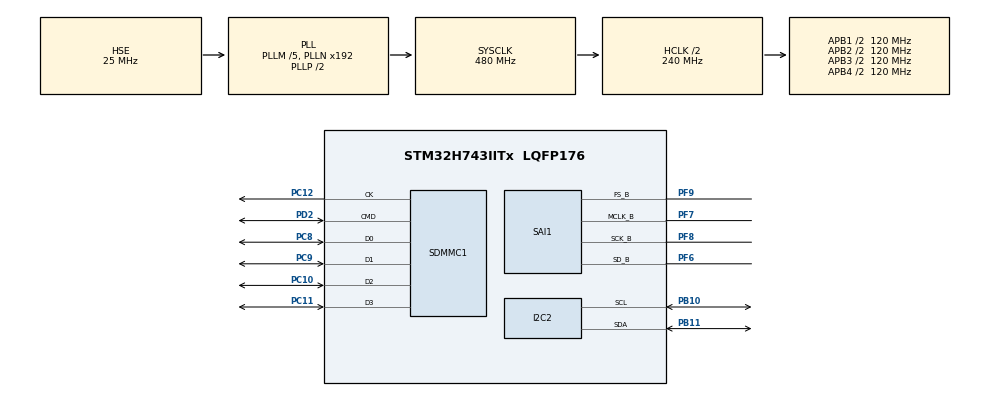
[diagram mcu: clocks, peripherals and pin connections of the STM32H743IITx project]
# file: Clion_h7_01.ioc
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CORTEX_M7.default_mode_Activation=1
Dma.Request0=SAI1_B
Dma.SAI1_B.0.Direction=DMA_MEMORY_TO_PERIPH
Dma.SAI1_B.0.EventEnable=DISABLE
Dma.SAI1_B.0.FIFOMode=DMA_FIFOMODE_DISABLE
Dma.SAI1_B.0.Instance=DMA2_Stream3
Dma.SAI1_B.0.MemDataAlignment=DMA_MDATAALIGN_HALFWORD
Dma.SAI1_B.0.MemInc=DMA_MINC_ENABLE
Dma.SAI1_B.0.Mode=DMA_CIRCULAR
Dma.SAI1_B.0.PeriphDataAlignment=DMA_PDATAALIGN_HALFWORD
Dma.SAI1_B.0.PeriphInc=DMA_PINC_DISABLE
Dma.SAI1_B.0.Polarity=HAL_DMAMUX_REQ_GEN_RISING
Dma.SAI1_B.0.Priority=DMA_PRIORITY_HIGH
Dma.SAI1_B.0.RequestNumber=1
Dma.SAI1_B.0.SignalID=NONE
Dma.SAI1_B.0.SyncEnable=DISABLE
Dma.SAI1_B.0.SyncPolarity=HAL_DMAMUX_SYNC_NO_EVENT
Dma.SAI1_B.0.SyncRequestNumber=1
Dma.SAI1_B.0.SyncSignalID=NONE
FATFS._CODE_PAGE=936
FATFS._LFN_UNICODE=1
FATFS._USE_LFN=2
FREERTOS.Tasks01=defaultTask,24,4096,StartDefaultTask,Default,NULL,Dynamic,NULL,NULL
I2C2.Timing=0x307075B1
Mcu.Family=STM32H7
Mcu.Name=STM32H743IITx
Mcu.Package=LQFP176
NVIC.DMA2_Stream3_IRQn=true\:5\:0\:false\:false\:true\:false\:false\:true\:true
NVIC.PriorityGroup=NVIC_PRIORITYGROUP_4
NVIC.SDMMC1_IRQn=true\:5\:0\:false\:false\:true\:true\:true\:true\:true
NVIC.TIM7_IRQn=true\:15\:0\:false\:false\:true\:false\:false\:true\:true
NVIC.TimeBase=TIM7_IRQn
NVIC.TimeBaseIP=TIM7
PA13\ (JTMS/SWDIO).Mode=Serial_Wire
PA13\ (JTMS/SWDIO).Signal=DEBUG_JTMS-SWDIO
PA14\ (JTCK/SWCLK).Mode=Serial_Wire
PA14\ (JTCK/SWCLK).Signal=DEBUG_JTCK-SWCLK
PB10.Mode=I2C
PB10.Signal=I2C2_SCL
PB11.Mode=I2C
PB11.Signal=I2C2_SDA
PC10.Mode=SD_4_bits_Wide_bus
PC10.Signal=SDMMC1_D2
PC11.Mode=SD_4_bits_Wide_bus
PC11.Signal=SDMMC1_D3
PC12.Mode=SD_4_bits_Wide_bus
PC12.Signal=SDMMC1_CK
PC8.Mode=SD_4_bits_Wide_bus
PC8.Signal=SDMMC1_D0
PC9.Mode=SD_4_bits_Wide_bus
PC9.Signal=SDMMC1_D1
PD2.Mode=SD_4_bits_Wide_bus
PD2.Signal=SDMMC1_CMD
PF6.Mode=SAI_B_MasterWithClock
PF6.Signal=SAI1_SD_B
PF7.Mode=SAI_B_MasterWithClock
PF7.Signal=SAI1_MCLK_B
PF8.Mode=SAI_B_MasterWithClock
PF8.Signal=SAI1_SCK_B
PF9.Mode=SAI_B_MasterWithClock
PF9.Signal=SAI1_FS_B
PH0-OSC_IN\ (PH0).Mode=HSE-External-Oscillator
PH0-OSC_IN\ (PH0).Signal=RCC_OSC_IN
PH1-OSC_OUT\ (PH1).Mode=HSE-External-Oscillator
PH1-OSC_OUT\ (PH1).Signal=RCC_OSC_OUT
ProjectManager.HeapSize=0x200
ProjectManager.StackSize=0x400
ProjectManager.TargetToolchain=Makefile
RCC.ADCFreq_Value=122880004.8828125
RCC.APB1Freq_Value=120000000
RCC.APB2Freq_Value=120000000
RCC.APB3Freq_Value=120000000
RCC.APB4Freq_Value=120000000
RCC.CortexFreq_Value=480000000
RCC.D1PPRE=RCC_APB3_DIV2
RCC.D2PPRE1=RCC_APB1_DIV2
RCC.D2PPRE2=RCC_APB2_DIV2
RCC.D3PPRE=RCC_APB4_DIV2
RCC.DIVM1=5
RCC.DIVM2=25
RCC.DIVM3=25
RCC.DIVN1=192
RCC.DIVN2=245
RCC.DIVN3=330
RCC.DIVQ1=4
RCC.DIVR3=10
RCC.HCLKFreq_Value=240000000
RCC.HPRE=RCC_HCLK_DIV2
RCC.PLL2FRACN=6226
RCC.PLL3FRACN=0
RCC.PLLFRACN=0
RCC.PLLSourceVirtual=RCC_PLLSOURCE_HSE
RCC.SAI1CLockSelection=RCC_SAI1CLKSOURCE_PLL2
RCC.SYSCLKFreq_VALUE=480000000
RCC.SYSCLKSource=RCC_SYSCLKSOURCE_PLLCLK
RCC.USBFreq_Value=240000000
SAI1.AudioFrequency-SAI_B_MasterWithClock=SAI_AUDIO_FREQUENCY_48K
SAI1.DataSize-SAI_B_MasterWithClock=SAI_DATASIZE_16
SAI1.ErrorAudioFreq-SAI_B_MasterWithClock=900.0 %
SAI1.FrameLength-SAI_B_MasterWithClock=32
SAI1.Instance-SAI_B_MasterWithClock=SAI$Index_Block_B
SAI1.MClockEnable-SAI_B_MasterWithClock=SAI_MASTERCLOCK_ENABLE
SAI1.RealAudioFreq-SAI_B_MasterWithClock=480.0 KHz
SAI1.SlotActive-SAI_B_MasterWithClock=0x00000003
SAI1.SlotNumber-SAI_B_MasterWithClock=2
SAI1.VirtualMode-SAI_B_MasterWithClock=VM_MASTER
SAI1.VirtualSlotActive-SAI_B_MasterWithClock=SAI_SLOT_USERSETTING
SAI1.VirtualSlotActive0-SAI_B_MasterWithClock=true
SAI1.VirtualSlotActive1-SAI_B_MasterWithClock=true
SDMMC1.ClockDiv=6
VP_FATFS_VS_SDIO.Mode=SDIO
VP_FREERTOS_VS_CMSIS_V2.Mode=CMSIS_V2
VP_MEMORYMAP_VS_MEMORYMAP.Mode=CurAppReg
VP_SYS_VS_tim7.Mode=TIM7
board=custom

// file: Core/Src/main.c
/* USER CODE BEGIN Header */
/**
  ******************************************************************************
  * @file           : main.c
  * @brief          : Main program body
  ******************************************************************************
  * @attention
  *
  * Copyright (c) 2026 STMicroelectronics.
  * All rights reserved.
  *
  * This software is licensed under terms that can be found in the LICENSE file
  * in the root directory of this software component.
  * If no LICENSE file comes with this software, it is provided AS-IS.
  *
  ******************************************************************************
  */
/* USER CODE END Header */
#include "main.h"
#include "cmsis_os.h"
#include "dma.h"
#include "fatfs.h"
#include "i2c.h"
#include "sai.h"
#include "sdmmc.h"
#include "gpio.h"

/* USER CODE BEGIN Includes */
#include <string.h>
#include "led.h"
#include "sdram.h"
#include "lcd_rgb.h"
#include "lcd_pwm.h"
#include "touch_800x480.h"
#include "qspi_w25q64.h"
#include "lvgl.h"
#include "draw/stm32_dma2d/lv_gpu_stm32_dma2d.h"
#include "lv_port_disp_template.h"
#include "lv_port_indev_template.h"
#include "ui.h"

/* USER CODE END Includes */

void SystemClock_Config(void);
static void MPU_Config(void);
void MX_FREERTOS_Init(void);
/* USER CODE BEGIN PFP */
void MX_MPU_UserConfig(void);
void MX_LTDC_ClockConfig(void);

/* USER CODE END PFP */

int main(void)
{

  /* USER CODE BEGIN 1 */
  /* Enable caches (same as the original FK743M1 project). ICache speeds up
   * code, DCache speeds up CPU rendering into SDRAM. MPU_Config() below keeps
   * the framebuffer/LTDC area coherent. */
  SCB_EnableICache();
  SCB_EnableDCache();
  /* CubeMX's generated MPU_Config() installs a deny-all region; add our own
   * regions (higher numbers win) so SDRAM + QSPI are accessible. Kept in
   * USER CODE so CubeMX regeneration cannot wipe it. */
  MX_MPU_UserConfig();

  /* USER CODE END 1 */

  /* MPU Configuration--------------------------------------------------------*/
  MPU_Config();

  /* MCU Configuration--------------------------------------------------------*/

  /* Reset of all peripherals, Initializes the Flash interface and the Systick. */
  HAL_Init();

  /* Configure the system clock */
  SystemClock_Config();

  /* USER CODE BEGIN SysInit */
  MX_LTDC_ClockConfig();   /* PLL3 -> LTDC 33 MHz pixel clock (from ltdc.c, which is not compiled) */

  /* USER CODE END SysInit */

  /* Initialize all configured peripherals */
  MX_GPIO_Init();
  MX_DMA_Init();
  MX_SDMMC1_SD_Init();
  MX_FATFS_Init();
  MX_I2C2_Init();
  MX_SAI1_Init();
  /* USER CODE BEGIN 2 */
  /* ==== Board bring-up (kept identical to the original FK743M1 project) ==== */
  LED_Init();                        /* LED1 on PH7 */
  MX_FMC_Init();                     /* SDRAM at 0xC0000000: framebuffers + LVGL pool */
  MX_LTDC_Init();                    /* LTDC owned by the board driver lcd_rgb.c (timing + GPIO + backlight) */
  Touch_Init();                      /* GT911 touch via bit-banged I2C */
  QSPI_W25Qxx_Init();                /* W25Q64 external flash */
  QSPI_W25Qxx_MemoryMappedMode();    /* UI assets now readable at 0x90000000 */

  memset((void *)0xC0000000, 0, 800 * 480 * 2);   /* clear framebuffer */

  lv_init();
  lv_draw_stm32_dma2d_init();   /* enable DMA2D GPU acceleration (LVGL) */
  lv_port_disp_init();
  lv_port_indev_init();
  ui_init();

  /* USER CODE END 2 */

  /* Init scheduler */
  osKernelInitialize();  /* Call init function for freertos objects (in cmsis_os2.c) */
  MX_FREERTOS_Init();

  /* Start scheduler */
  osKernelStart();

  /* We should never get here as control is now taken by the scheduler */

  /* Infinite loop */
  while (1)
  {

  }
}

void SystemClock_Config(void)
{
  RCC_OscInitTypeDef RCC_OscInitStruct = {0};
  RCC_ClkInitTypeDef RCC_ClkInitStruct = {0};

  /** Supply configuration update enable
  */
  HAL_PWREx_ConfigSupply(PWR_LDO_SUPPLY);

  /** Configure the main internal regulator output voltage
  */
  __HAL_PWR_VOLTAGESCALING_CONFIG(PWR_REGULATOR_VOLTAGE_SCALE0);

  while(!__HAL_PWR_GET_FLAG(PWR_FLAG_VOSRDY)) {}

  /** Initializes the RCC Oscillators according to the specified parameters
  * in the RCC_OscInitTypeDef structure.
  */
  RCC_OscInitStruct.OscillatorType = RCC_OSCILLATORTYPE_HSE;
  RCC_OscInitStruct.HSEState = RCC_HSE_ON;
  RCC_OscInitStruct.PLL.PLLState = RCC_PLL_ON;
  RCC_OscInitStruct.PLL.PLLSource = RCC_PLLSOURCE_HSE;
  RCC_OscInitStruct.PLL.PLLM = 5;
  RCC_OscInitStruct.PLL.PLLN = 192;
  RCC_OscInitStruct.PLL.PLLP = 2;
  RCC_OscInitStruct.PLL.PLLQ = 4;
  RCC_OscInitStruct.PLL.PLLR = 2;
  RCC_OscInitStruct.PLL.PLLRGE = RCC_PLL1VCIRANGE_2;
  RCC_OscInitStruct.PLL.PLLVCOSEL = RCC_PLL1VCOWIDE;
  RCC_OscInitStruct.PLL.PLLFRACN = 0;
  if (HAL_RCC_OscConfig(&RCC_OscInitStruct) != HAL_OK)
  {
    Error_Handler();
  }

  /** Initializes the CPU, AHB and APB buses clocks
  */
  RCC_ClkInitStruct.ClockType = RCC_CLOCKTYPE_HCLK|RCC_CLOCKTYPE_SYSCLK
                              |RCC_CLOCKTYPE_PCLK1|RCC_CLOCKTYPE_PCLK2
                              |RCC_CLOCKTYPE_D3PCLK1|RCC_CLOCKTYPE_D1PCLK1;
  RCC_ClkInitStruct.SYSCLKSource = RCC_SYSCLKSOURCE_PLLCLK;
  RCC_ClkInitStruct.SYSCLKDivider = RCC_SYSCLK_DIV1;
  RCC_ClkInitStruct.AHBCLKDivider = RCC_HCLK_DIV2;
  RCC_ClkInitStruct.APB3CLKDivider = RCC_APB3_DIV2;
  RCC_ClkInitStruct.APB1CLKDivider = RCC_APB1_DIV2;
  RCC_ClkInitStruct.APB2CLKDivider = RCC_APB2_DIV2;
  RCC_ClkInitStruct.APB4CLKDivider = RCC_APB4_DIV2;

  if (HAL_RCC_ClockConfig(&RCC_ClkInitStruct, FLASH_LATENCY_4) != HAL_OK)
  {
    Error_Handler();
  }
}

/* USER CODE BEGIN 4 */
/**
 * @brief  Enable MPU regions for SDRAM (0xC0000000) and QSPI (0x90000000).
 * @note   CubeMX regenerates MPU_Config() with a deny-all region, so these
 *         regions are configured here in USER CODE (higher region numbers
 *         take precedence over the generated deny-all region 0).
 */
void MX_MPU_UserConfig(void)
{
  MPU_Region_InitTypeDef MPU_InitStruct = {0};

  /* Region 1: SDRAM 32 MB, full access, cacheable */
  MPU_InitStruct.Enable            = MPU_REGION_ENABLE;
  MPU_InitStruct.Number            = MPU_REGION_NUMBER1;
  MPU_InitStruct.BaseAddress       = 0xC0000000;
  MPU_InitStruct.Size              = MPU_REGION_SIZE_32MB;
  MPU_InitStruct.AccessPermission  = MPU_REGION_FULL_ACCESS;
  MPU_InitStruct.IsBufferable      = MPU_ACCESS_NOT_BUFFERABLE;
  MPU_InitStruct.IsCacheable       = MPU_ACCESS_CACHEABLE;
  MPU_InitStruct.IsShareable       = MPU_ACCESS_NOT_SHAREABLE;
  MPU_InitStruct.TypeExtField      = MPU_TEX_LEVEL0;
  MPU_InitStruct.SubRegionDisable  = 0x00;
  MPU_InitStruct.DisableExec       = MPU_INSTRUCTION_ACCESS_ENABLE;
  HAL_MPU_ConfigRegion(&MPU_InitStruct);

  /* Region 2: QSPI memory-mapped 8 MB, full access, cacheable */
  MPU_InitStruct.Number            = MPU_REGION_NUMBER2;
  MPU_InitStruct.BaseAddress       = 0x90000000;
  MPU_InitStruct.Size              = MPU_REGION_SIZE_8MB;
  HAL_MPU_ConfigRegion(&MPU_InitStruct);
}

/**
 * @brief  Configure PLL3 and route it to LTDC (33 MHz pixel clock).
 * @note   CubeMX generates this inside ltdc.c -> HAL_LTDC_MspInit, but ltdc.c
 *         is excluded from the build (the board driver lcd_rgb.c owns the
 *         LTDC), so this clock setup is re-applied here.
 */
void MX_LTDC_ClockConfig(void)
{
  RCC_PeriphCLKInitTypeDef PeriphClkInitStruct = {0};

  PeriphClkInitStruct.PeriphClockSelection = RCC_PERIPHCLK_LTDC | RCC_PERIPHCLK_FMC;
  PeriphClkInitStruct.FmcClockSelection = RCC_FMCCLKSOURCE_D1HCLK;
  PeriphClkInitStruct.PLL3.PLL3M = 25;
  PeriphClkInitStruct.PLL3.PLL3N = 330;
  PeriphClkInitStruct.PLL3.PLL3P = 2;
  PeriphClkInitStruct.PLL3.PLL3Q = 2;
  PeriphClkInitStruct.PLL3.PLL3R = 10;
  PeriphClkInitStruct.PLL3.PLL3RGE = RCC_PLL3VCIRANGE_0;
  PeriphClkInitStruct.PLL3.PLL3VCOSEL = RCC_PLL3VCOWIDE;
  PeriphClkInitStruct.PLL3.PLL3FRACN = 0.0;
  if (HAL_RCCEx_PeriphCLKConfig(&PeriphClkInitStruct) != HAL_OK)
  {
    Error_Handler();
  }
}

/* USER CODE END 4 */

 /* MPU Configuration */

void MPU_Config(void)
{
  MPU_Region_InitTypeDef MPU_InitStruct = {0};

  /* Disables the MPU */
  HAL_MPU_Disable();

  /** Initializes and configures the Region and the memory to be protected
  */
  MPU_InitStruct.Enable = MPU_REGION_ENABLE;
  MPU_InitStruct.Number = MPU_REGION_NUMBER0;
  MPU_InitStruct.BaseAddress = 0x0;
  MPU_InitStruct.Size = MPU_REGION_SIZE_4GB;
  MPU_InitStruct.SubRegionDisable = 0x87;
  MPU_InitStruct.TypeExtField = MPU_TEX_LEVEL0;
  MPU_InitStruct.AccessPermission = MPU_REGION_NO_ACCESS;
  MPU_InitStruct.DisableExec = MPU_INSTRUCTION_ACCESS_DISABLE;
  MPU_InitStruct.IsShareable = MPU_ACCESS_SHAREABLE;
  MPU_InitStruct.IsCacheable = MPU_ACCESS_NOT_CACHEABLE;
  MPU_InitStruct.IsBufferable = MPU_ACCESS_NOT_BUFFERABLE;

  HAL_MPU_ConfigRegion(&MPU_InitStruct);
  /* Enables the MPU */
  HAL_MPU_Enable(MPU_PRIVILEGED_DEFAULT);

}

void HAL_TIM_PeriodElapsedCallback(TIM_HandleTypeDef *htim)
{
  if (htim->Instance == TIM7)
  {
    HAL_IncTick();
  }
}

void Error_Handler(void)
{
  __disable_irq();
  while (1)
  {
  }
}

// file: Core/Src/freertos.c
/* USER CODE BEGIN Header */
/**
  ******************************************************************************
  * File Name          : freertos.c
  * Description        : Code for freertos applications
  ******************************************************************************
  * @attention
  *
  * Copyright (c) 2026 STMicroelectronics.
  * All rights reserved.
  *
  * This software is licensed under terms that can be found in the LICENSE file
  * in the root directory of this software component.
  * If no LICENSE file comes with this software, it is provided AS-IS.
  *
  ******************************************************************************
  */
/* USER CODE END Header */

#include "FreeRTOS.h"
#include "task.h"
#include "main.h"
#include "cmsis_os.h"

/* USER CODE BEGIN Includes */
#include "led.h"
#include "touch_800x480.h"
#include "lvgl.h"
#include "fatfs.h"
#include "music_list.h"
#include "i2c.h"
#include "es8311.h"
#include "sai.h"
#include "audio_player.h"
#include <math.h>
#include <string.h>   /* strrchr / strcmp: 文件格式过滤要用 */
#include <strings.h>  /* strcasecmp: 大小写不敏感比较 */
/* USER CODE END Includes */

/* USER CODE BEGIN Variables */
/* Track library filled by the SD scan. Stored in AXI SRAM (.audio_buf) so the
 * arrays do not eat DTCM; the audio player and the UI read it through the
 * music_get_*() accessors declared in audio_player.h. */
#define MAX_TRACKS      99
#define TRACK_PATH_LEN  256   /* UTF-16 code units, incl. terminator */
#define TRACK_NAME_LEN  256   /* UTF-8 bytes, incl. terminator */

__attribute__((section(".audio_buf"), aligned(4)))
static uint16_t s_track_path[MAX_TRACKS][TRACK_PATH_LEN];
__attribute__((section(".audio_buf"), aligned(4)))
static char s_track_name[MAX_TRACKS][TRACK_NAME_LEN];
static uint16_t s_track_count;

/* USER CODE END Variables */
/* Definitions for defaultTask */
osThreadId_t defaultTaskHandle;
const osThreadAttr_t defaultTask_attributes = {
  .name = "defaultTask",
  .stack_size = 24 * 1024,
  .priority = (osPriority_t) osPriorityNormal,
};

/* USER CODE BEGIN FunctionPrototypes */

void sd_scan_to_list(void);   /* mount SD + scan audio files into the LVGL list */

/* USER CODE END FunctionPrototypes */

void StartDefaultTask(void *argument);

void MX_FREERTOS_Init(void); /* (MISRA C 2004 rule 8.1) */

void MX_FREERTOS_Init(void) {

  /* Create the thread(s) */
  /* creation of defaultTask */
  defaultTaskHandle = osThreadNew(StartDefaultTask, NULL, &defaultTask_attributes);

}

void StartDefaultTask(void *argument)
{
  /* USER CODE BEGIN StartDefaultTask */
  /* Show the file list screen, then mount + scan the SD card into it. */
  music_list_create();
  sd_scan_to_list();
  audio_player_start();              /* decode + play the first MP3 found */

/* Infinite loop */
uint32_t led_last = 0;
  for(;;)
  {
    lv_timer_handler();   /* let LVGL render (flush switches LTDC framebuffer)  LVGL 的“心跳轮询”*/
    Touch_Scan();         /* touch scan, must not be slower than 10 ms */
    /* The audio task only writes to a shared buffer (LVGL is not
     * thread-safe); display it here in the LVGL task. */
    if (g_audio_status_new != 0)
    {
      g_audio_status_new = 0;
      music_list_set_status((const char *)g_audio_status);
    }
    if (osKernelGetTickCount() - led_last >= 500)   /* toggle every 500 ms (1 Hz cycle) */
    {
      led_last = osKernelGetTickCount();
      LED1_Toggle;        /* heartbeat */
    }
osDelay(5);
  }
  /* USER CODE END StartDefaultTask */
}

/* USER CODE BEGIN Application */

/*
 * SD card scanning helpers.
 *
 * NOTE: these functions were originally lost when CubeMX regenerated
 * freertos.c (the previous copy lived outside a USER CODE block). They have
 * been reconstructed 1:1 from the last successful build artifacts
 * (build/Debug/.../freertos.c.obj + Clion_h7_01.map) and are now kept inside
 * this USER CODE section so regeneration can never wipe them again.
 */

/* Mount path of the SD logical drive (UTF-16, FatFs _LFN_UNICODE = 1). */
static const uint16_t sd_path[] = { '0', ':', '/', 0 };   /* "0:/" */

/* UTF-16 -> UTF-8, with surrogate pair support. */
static void utf16_to_utf8(const uint16_t *in, uint8_t *out, int out_cap)
{
  int n = 0;

  while ((n + 3) < out_cap && *in != 0)
  {
    uint32_t cp = *in++;

    /* Surrogate pair -> one code point (U+10000..U+10FFFF). */
    if (cp >= 0xD800 && cp < 0xDC00 &&
        in[0] >= 0xDC00 && in[0] < 0xE000)
    {
      cp = ((cp - 0xD800) << 10) + (*in++ - 0xDC00) + 0x10000;
    }

    if (cp < 0x80)
    {
      out[n++] = (uint8_t)cp;
    }
    else if (cp < 0x800)
    {
      out[n++] = (uint8_t)(0xC0 | (cp >> 6));
      out[n++] = (uint8_t)(0x80 | (cp & 0x3F));
    }
    else if (cp < 0x10000)
    {
      out[n++] = (uint8_t)(0xE0 | (cp >> 12));
      out[n++] = (uint8_t)(0x80 | ((cp >> 6) & 0x3F));
      out[n++] = (uint8_t)(0x80 | (cp & 0x3F));
    }
    else
    {
      out[n++] = (uint8_t)(0xF0 | (cp >> 18));
      out[n++] = (uint8_t)(0x80 | ((cp >> 12) & 0x3F));
      out[n++] = (uint8_t)(0x80 | ((cp >> 6) & 0x3F));
      out[n++] = (uint8_t)(0x80 | (cp & 0x3F));
    }
  }

  out[n] = 0;
}

/* Join two UTF-16 path parts with a '/' separator (unless already there). */
static void tstr_join(uint16_t *dest, int cap, const uint16_t *src, const uint16_t *src2)
{
  int i = 0;
  int j = 0;

  for (i = 0; src[i] != 0 && (i + 1) < cap; i++)
  {
    dest[i] = src[i];
  }

  if (i > 0 && dest[i - 1] != '/' && (i + 1) < cap)
  {
    dest[i++] = '/';
  }

  for (j = 0; src2[j] != 0 && (i + 1) < cap; i++, j++)
  {
    dest[i] = src2[j];
  }

  dest[i] = 0;
}

/* Add one file to the list, but only if its extension is a supported audio type.
 * Also remembers the full path of the first .mp3 for playback. */
static void scan_add_file(FILINFO *finfo, const uint16_t *dir_path, uint16_t *count)
{
  static const char *const audio_ext[] = {
    ".mp3", ".wav", ".flac", ".wma", ".aac", ".ogg", ".m4a"
  };
  char utf8[766];
  char line[773];
  uint8_t matched = 0;

  utf16_to_utf8((const uint16_t *)finfo->fname, (uint8_t *)utf8, (int)sizeof(utf8));

  char *dot = strrchr(utf8, '.');
  if (dot != NULL)
  {
    for (uint32_t i = 0; i < (sizeof(audio_ext) / sizeof(audio_ext[0])); i++)
    {
      if (strcasecmp(dot, audio_ext[i]) == 0)
      {
        matched = 1;
        break;
      }
    }
  }

  if (matched)
  {
    lv_snprintf(line, sizeof(line), "%s", utf8);
    music_list_add_item(line);

    /* Save the full path + display name into the track library so the
     * player can open any track by index. */
    if (*count < MAX_TRACKS)
    {
      tstr_join(s_track_path[*count], TRACK_PATH_LEN, dir_path,
                (const uint16_t *)finfo->fname);
      strncpy(s_track_name[*count], utf8, TRACK_NAME_LEN - 1);
      s_track_name[*count][TRACK_NAME_LEN - 1] = 0;
    }
    (*count)++;
  }
}

/* ---- Track library accessors (declared in audio_player.h) ----------------- */
uint16_t music_get_count(void)
{
  return s_track_count;
}

const char *music_get_title(uint16_t index)
{
  if (index < s_track_count)
  {
    return s_track_name[index];
  }
  return "";
}

const uint16_t *music_get_path(uint16_t index)
{
  if (index < s_track_count)
  {
    return s_track_path[index];
  }
  return NULL;
}

/* Recursively scan a directory (sub-directories included), max 99 entries. */
static FRESULT scan_dir(const TCHAR *path, uint16_t *count)
{
  DIR dj;
  FILINFO finfo;
  FRESULT res;

  res = f_opendir(&dj, path);
  if (res != FR_OK)
  {
    return res;
  }

  for (;;)
  {
    res = f_readdir(&dj, &finfo);
    if (res != FR_OK)
    {
      break;
    }
    if (finfo.fname[0] == 0)      /* end of directory */
    {
      break;
    }
    if (finfo.fname[0] == '.')    /* skip "." and ".." */
    {
      continue;
    }
    if (*count > 99)              /* safety limit */
    {
      continue;
    }

    if (finfo.fattrib & AM_DIR)
    {
      TCHAR new_path[518];
      tstr_join((uint16_t *)new_path, 518, path, (const uint16_t *)finfo.fname);
      scan_dir(new_path, count);
    }
    else
    {
      scan_add_file(&finfo, path, count);
    }
  }

  f_closedir(&dj);
  return FR_OK;
}

/* Mount the SD card and scan it into the LVGL music list. */
void sd_scan_to_list(void)
{
  char buf[64];
  uint16_t count = 0;
  FRESULT res;

  s_track_count = 0;              /* start a fresh library */
  music_list_set_status("正在挂载 SD 卡");
  lv_timer_handler();

  res = f_mount(&SDFatFS, (const TCHAR *)sd_path, 1);
  if (res != FR_OK)
  {
    lv_snprintf(buf, sizeof(buf), "SD 挂载失败 (err=%d)", res);
    music_list_set_status(buf);
    return;
  }

  music_list_set_status("正在扫描文件");
  lv_timer_handler();

  res = scan_dir((const TCHAR *)sd_path, &count);
  if (res != FR_OK)
  {
    lv_snprintf(buf, sizeof(buf), "打开目录失败 (err=%d)", res);
    music_list_set_status(buf);
    return;
  }

  s_track_count = count;
  lv_snprintf(buf, sizeof(buf), "共 %u 首", (unsigned)count);
  music_list_set_status(buf);
}

/* FreeRTOS stack-overflow hook (configCHECK_FOR_STACK_OVERFLOW=2): shows the
 * offending task name on screen so a crash can be blamed correctly. */
void vApplicationStackOverflowHook(TaskHandle_t xTask, char *pcTaskName)
{
  (void)xTask;
  music_list_set_status("STACK OVERFLOW!");
  music_list_add_item(pcTaskName);
  for (;;)
  {
    lv_timer_handler();
    osDelay(50);
  }
}

/* USER CODE END Application */
